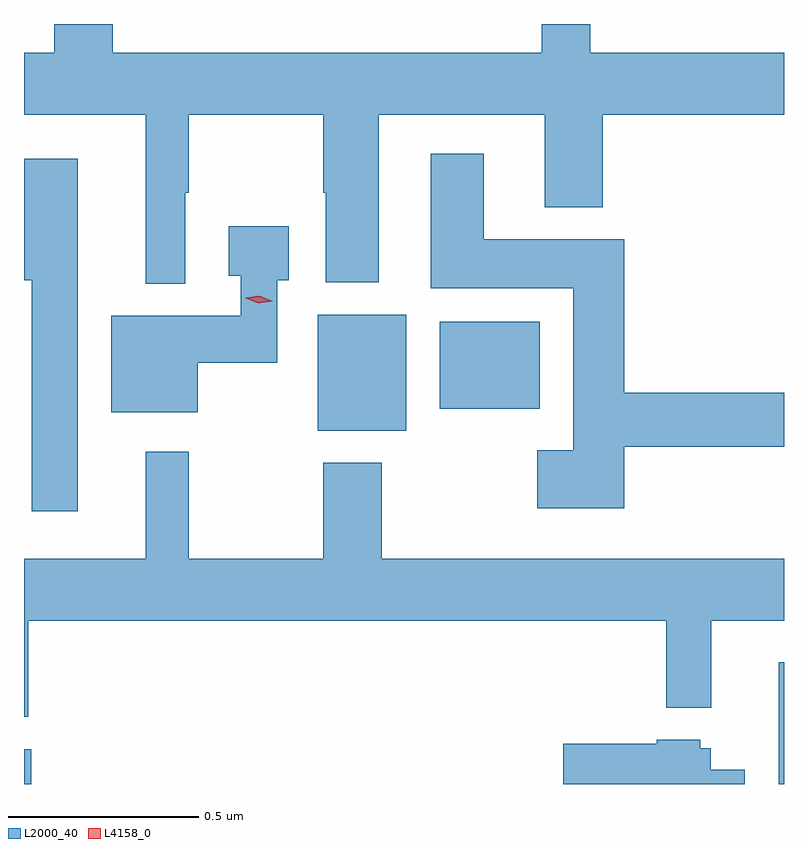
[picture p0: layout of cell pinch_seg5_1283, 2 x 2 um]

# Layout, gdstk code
import gdstk
lib = gdstk.Library(unit=1e-6, precision=1e-09)
def R(c, l, rs):  # rectangles x0, y0, x1, y1
    for r in rs: c.add(gdstk.rectangle(r[:2], r[2:], *l))
def P(c, l, *ps):  # polygons
    for p in ps: c.add(gdstk.Polygon(p, *l))
L2000_40 = (2000, 40)
L4158_0 = (4158, 0)

pinch_seg5_1283 = lib.new_cell('pinch_seg5_1283')
R(pinch_seg5_1283, L2000_40, [(410.559,901.619,410.578,901.711), (412.545,901.619,412.559,901.939), (411.332,902.549,411.565,902.854), (411.653,902.606,411.916,902.836)])
P(pinch_seg5_1283, L2000_40, [(410.983,903.175),(410.993,903.175),(410.993,903.38),(411.346,903.38),(411.346,903.175),(411.353,903.175),(411.353,902.939),(411.493,902.939),(411.493,903.38),(411.929,903.38),(411.929,903.137),(412.082,903.137),(412.082,903.38),(412.559,903.38),(412.559,903.544),(412.049,903.544),(412.049,903.619),(411.921,903.619),(411.921,903.544),(410.792,903.544),(410.792,903.619),(410.639,903.619),(410.639,903.544),(410.559,903.544),(410.559,903.38),(410.879,903.38),(410.879,902.936),(410.983,902.936)],
  [(412.139,902.506),(412.559,902.506),(412.559,902.648),(412.139,902.648),(412.139,903.052),(411.769,903.052),(411.769,903.277),(411.629,903.277),(411.629,902.924),(412.004,902.924),(412.004,902.497),(411.909,902.497),(411.909,902.345),(412.139,902.345)],
  [(410.701,903.265),(410.559,903.265),(410.559,902.945),(410.58,902.945),(410.58,902.337),(410.701,902.337)],
  [(411.016,902.728),(411.225,902.728),(411.225,902.945),(411.256,902.945),(411.256,903.087),(411.098,903.087),(411.098,902.957),(411.129,902.957),(411.129,902.851),(410.789,902.851),(410.789,902.597),(411.016,902.597)],
  [(410.57,902.048),(412.249,902.048),(412.249,901.82),(412.367,901.82),(412.367,902.048),(412.559,902.048),(412.559,902.212),(411.501,902.212),(411.501,902.464),(411.346,902.464),(411.346,902.212),(410.993,902.212),(410.993,902.494),(410.879,902.494),(410.879,902.212),(410.559,902.212),(410.559,901.796),(410.57,901.796)],
  [(412.456,901.657),(412.366,901.657),(412.366,901.713),(412.338,901.713),(412.338,901.735),(412.224,901.735),(412.224,901.725),(411.978,901.725),(411.978,901.619),(412.456,901.619)])
P(pinch_seg5_1283, L4158_0, [(411.176,902.884),(411.142,902.897),(411.142,902.897),(411.142,902.898),(411.178,902.904),(411.213,902.89),(411.213,902.89),(411.213,902.89)])

lib.write_gds('pinch_seg5_1283.gds')
